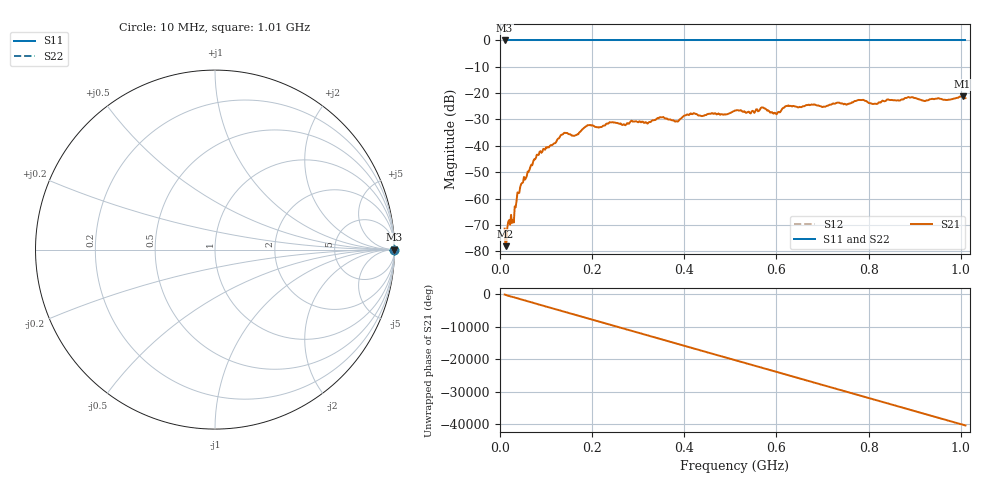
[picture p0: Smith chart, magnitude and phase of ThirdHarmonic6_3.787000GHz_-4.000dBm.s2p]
! 8/17/2025 1:04:10 PM
! C:\ANRITSUVNA\TEMP\TEMP.S2P
! CHANNEL.1
! TR.MEASUREMENT
! RAW.DATA
! RF.CORRECTION.OFF
! AVERAGING.OFF
! IF.BANDWIDTH: 5KHZ
! SWEEPTYPE:  FREQ.SWEEP(Linear)
! Reference Plane Port Info
! PORT:  PORT1  PORT2
! DISTANCE:  0  m  0  m
! TIME:  0  s  0  s
! PHASE.OFFSET:  0  deg.  0  deg.
! LOSS:  0  dB  0  dB
! REF.LOSS:  0  dB  0  dB
! REF.FREQ:  0  Hz  0  Hz
! Power Info
! POWER:  -20  dBm  -20  dBm
! EFF.POWER:  -20  dBm  -20  dBm
! SOURCE.ATTEN:  0  dB  0  dB
! TEST.ATTEN:  0  dB  0  dB
# GHZ S RI R 50.0
! FREQ.GHZ  S11RE  S11IM  S21RE  S21IM  S12RE  S12IM  S22RE  S22IM
!; PortSelection: Port_12
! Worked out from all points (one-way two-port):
!   501 points, 10 MHz to 1.01 GHz, reference 50 ohm
!   highest |S21| = -21.25 dB at 1.004 GHz (marker M1); lowest = -78.1 dB at 12 MHz (marker M2)
!   lowest |S11| = 0.0 dB at 10 MHz (marker M3)
!   |S11| at or under -10 dB: nowhere
!   |S22| runs from 0.0 to 0.0 dB; largest |S21 - S12| = 1.1
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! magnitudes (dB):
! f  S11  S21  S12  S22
! 10 MHz  0.0  -71.4  0.0  0.0
! 12 MHz  0.0  -78.1  0.0  0.0
! 20 MHz  0.0  -68.1  0.0  0.0
! 30 MHz  0.0  -69.1  0.0  0.0
! 36 MHz  0.0  -60.7  0.0  0.0
! 48 MHz  0.0  -54.1  0.0  0.0
! 78 MHz  0.0  -44.6  0.0  0.0
! 136 MHz  0.0  -35.7  0.0  0.0
! 162 MHz  0.0  -36.2  0.0  0.0
! 178 MHz  0.0  -33.9  0.0  0.0
! 192 MHz  0.0  -32.2  0.0  0.0
! 344 MHz  0.0  -29.6  0.0  0.0
! 384 MHz  0.0  -30.7  0.0  0.0
! 416 MHz  0.0  -28.0  0.0  0.0
! 510 MHz  0.0  -26.6  0.0  0.0
! 570 MHz  0.0  -25.4  0.0  0.0
! 598 MHz  0.0  -27.6  0.0  0.0
! 622 MHz  0.0  -24.8  0.0  0.0
! 678 MHz  0.0  -24.4  0.0  0.0
! 844 MHz  0.0  -22.5  0.0  0.0
! 1.004 GHz  0.0  -21.3  0.0  0.0
! 1.01 GHz  0.0  -21.9  0.0  0.0
